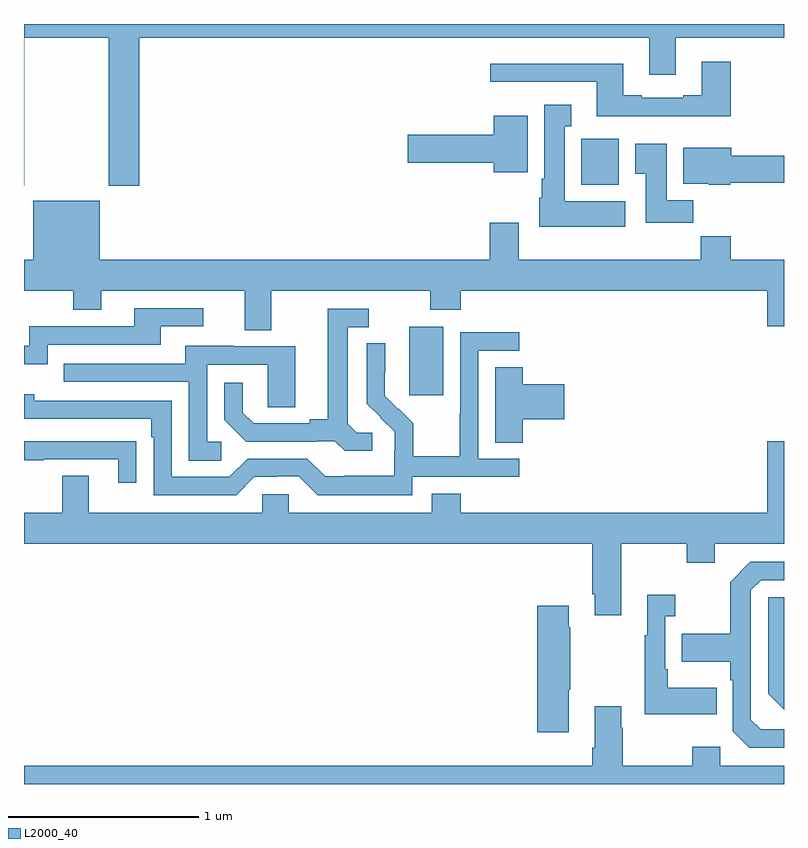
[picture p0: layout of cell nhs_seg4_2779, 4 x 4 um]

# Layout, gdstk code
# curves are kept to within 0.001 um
import gdstk
lib = gdstk.Library(unit=1e-6, precision=1e-09)
def R(c, l, rs):  # rectangles x0, y0, x1, y1
    for r in rs: c.add(gdstk.rectangle(r[:2], r[2:], *l))
def P(c, l, *ps):  # polygons
    for p in ps: c.add(gdstk.Polygon(p, *l))
L2000_40 = (2000, 40)

nhs_seg4_2779 = lib.new_cell('nhs_seg4_2779')
R(nhs_seg4_2779, L2000_40, [(259.028,786.945,259.207,787.306), (259.934,788.054,260.131,788.296)])
P(nhs_seg4_2779, L2000_40, [(257.001,788.828),(257.446,788.828),(257.446,788.049),(257.606,788.049),(257.606,788.828),(260.291,788.828),(260.291,788.634),(260.431,788.634),(260.431,788.828),(261,788.828),(261,788.9),(257,788.9),(257,788.049),(257.001,788.049)],
  [(260.72,788.701),(260.567,788.701),(260.567,788.524),(260.471,788.524),(260.471,788.511),(260.251,788.511),(260.251,788.524),(260.155,788.524),(260.155,788.692),(259.455,788.692),(259.455,788.595),(260.015,788.595),(260.015,788.414),(260.72,788.414)],
  [(260.164,787.966),(259.846,787.966),(259.846,788.363),(259.879,788.363),(259.879,788.476),(259.739,788.476),(259.739,788.086),(259.724,788.086),(259.724,787.986),(259.712,787.986),(259.712,787.832),(260.164,787.832)],
  [(259.651,788.416),(259.472,788.416),(259.472,788.318),(259.02,788.318),(259.02,788.171),(259.472,788.171),(259.472,788.12),(259.651,788.12)],
  [(260.522,787.972),(260.383,787.972),(260.383,788.269),(260.216,788.269),(260.216,788.113),(260.273,788.113),(260.273,787.854),(260.522,787.854)],
  [(260.718,788.065),(261,788.065),(261,788.207),(260.722,788.207),(260.722,788.248),(260.471,788.248),(260.471,788.06),(260.604,788.06),(260.604,788.054),(260.718,788.054)],
  [(258.301,787.496),(259.138,787.496),(259.138,787.397),(259.298,787.397),(259.298,787.496),(260.912,787.496),(260.912,787.308),(261,787.308),(261,787.66),(260.72,787.66),(260.72,787.784),(260.563,787.784),(260.563,787.66),(259.603,787.66),(259.603,787.855),(259.451,787.855),(259.451,787.66),(257.398,787.66),(257.398,787.969),(257.048,787.969),(257.048,787.66),(257,787.66),(257,787.496),(257.26,787.496),(257.26,787.397),(257.407,787.397),(257.407,787.496),(258.161,787.496),(258.161,787.288),(258.301,787.288)],
  [(257.124,787.212),(257.719,787.212),(257.719,787.308),(257.944,787.308),(257.944,787.404),(257.579,787.404),(257.579,787.308),(257.028,787.308),(257.028,787.206),(257,787.206),(257,787.109),(257.124,787.109)],
  [(258.832,786.75),(258.75,786.75),(258.703,786.797),(258.703,787.305),(258.814,787.305),(258.814,787.401),(258.599,787.401),(258.599,786.821),(258.503,786.821),(258.503,786.798),(258.208,786.798),(258.151,786.855),(258.151,787.012),(258.054,787.012),(258.054,786.818),(258.17,786.702),(258.542,786.702),(258.542,786.705),(258.636,786.705),(258.688,786.653),(258.832,786.653)],
  [(259.044,786.516),(259.606,786.516),(259.606,786.612),(259.392,786.612),(259.392,787.179),(259.606,787.179),(259.606,787.278),(259.296,787.278),(259.296,786.848),(259.294,786.848),(259.294,786.625),(259.049,786.625),(259.049,786.799),(258.972,786.876),(258.969,786.873),(258.899,786.944),(258.9,787.22),(258.804,787.22),(258.804,786.902),(258.95,786.754),(258.95,786.657),(258.948,786.657),(258.948,786.523),(258.685,786.523),(258.685,786.519),(258.585,786.519),(258.492,786.612),(258.177,786.612),(258.081,786.516),(257.778,786.516),(257.778,786.918),(257.054,786.918),(257.054,786.952),(257,786.952),(257,786.822),(257.669,786.822),(257.669,786.725),(257.682,786.725),(257.682,786.42),(258.117,786.42),(258.213,786.516),(258.332,786.516),(258.332,786.519),(258.447,786.519),(258.547,786.419),(259.044,786.419)],
  [(258.037,786.702),(257.964,786.702),(257.964,787.107),(258.282,787.107),(258.282,786.883),(258.427,786.883),(258.427,787.203),(258.103,787.203),(258.103,787.207),(257.849,787.207),(257.849,787.113),(257.209,787.113),(257.209,787.017),(257.868,787.017),(257.868,786.601),(258.037,786.601)],
  [(259.625,786.821),(259.843,786.821),(259.843,787.004),(259.625,787.004),(259.625,787.094),(259.481,787.094),(259.481,786.697),(259.625,786.697)],
  [(257.591,786.704),(257.489,786.704),(257.489,786.705),(257,786.705),(257,786.604),(257.105,786.604),(257.105,786.609),(257.495,786.609),(257.495,786.486),(257.591,786.486)],
  [(259.298,786.427),(259.145,786.427),(259.145,786.328),(258.393,786.328),(258.393,786.426),(258.255,786.426),(258.255,786.328),(257.341,786.328),(257.341,786.523),(257.201,786.523),(257.201,786.328),(257,786.328),(257,786.164),(259.991,786.164),(259.991,785.899),(260.003,785.899),(260.003,785.787),(260.143,785.787),(260.143,786.164),(260.488,786.164),(260.488,786.065),(260.635,786.065),(260.635,786.164),(261,786.164),(261,786.703),(260.912,786.703),(260.912,786.328),(259.298,786.328)],
  [(261,785.187),(260.877,785.187),(260.826,785.238),(260.826,785.919),(260.88,785.973),(261,785.973),(261,786.069),(260.823,786.069),(260.718,785.963),(260.718,785.691),(260.461,785.691),(260.461,785.543),(260.718,785.543),(260.718,785.447),(260.73,785.447),(260.73,785.178),(260.817,785.091),(261,785.091)],
  [(260.645,785.407),(260.389,785.407),(260.389,785.503),(260.376,785.503),(260.376,785.783),(260.428,785.783),(260.428,785.896),(260.279,785.896),(260.279,785.683),(260.267,785.683),(260.267,785.267),(260.645,785.267)],
  [(261,785.883),(260.916,785.883),(260.916,785.376),(261,785.292)],
  [(259.867,785.395),(259.875,785.395),(259.875,785.726),(259.867,785.726),(259.867,785.839),(259.7,785.839),(259.7,785.172),(259.867,785.172)],
  [(261,784.996),(260.664,784.996),(260.664,785.095),(260.517,785.095),(260.517,784.996),(260.151,784.996),(260.151,785.195),(260.143,785.195),(260.143,785.308),(260.003,785.308),(260.003,785.092),(259.991,785.092),(259.991,784.996),(257,784.996),(257,784.9),(261,784.9)])

lib.write_gds('nhs_seg4_2779.gds')
